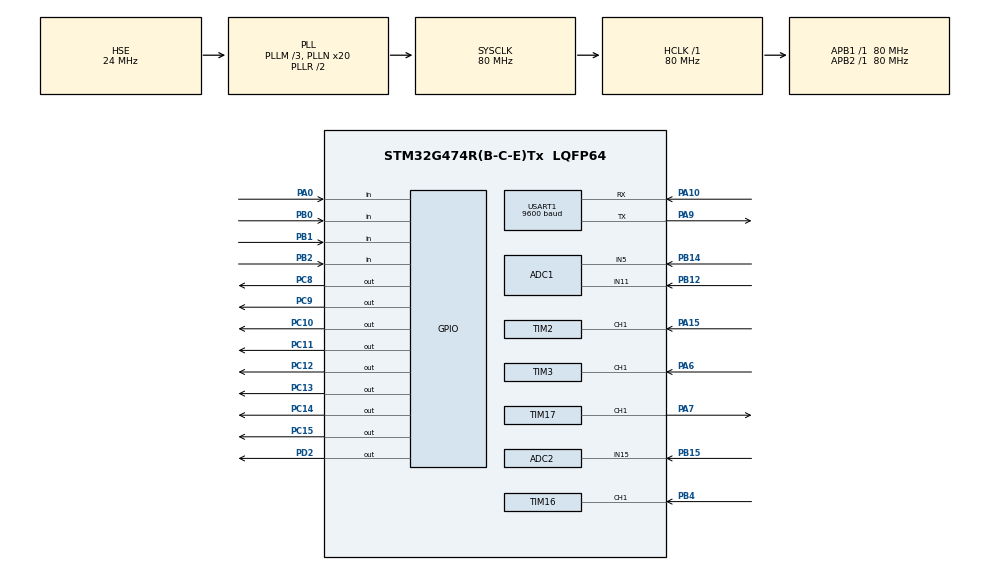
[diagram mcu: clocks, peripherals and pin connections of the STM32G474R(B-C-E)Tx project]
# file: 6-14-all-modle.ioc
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ADC1.Channel-0\#ChannelRegularConversion=ADC_CHANNEL_11
ADC1.Channel-1\#ChannelRegularConversion=ADC_CHANNEL_5
ADC1.ClockPrescaler=ADC_CLOCK_ASYNC_DIV128
ADC1.ContinuousConvMode=ENABLE
ADC1.DMAContinuousRequests=ENABLE
ADC1.NbrOfConversion=2
ADC1.NbrOfConversionFlag=1
ADC1.OffsetNumber-0\#ChannelRegularConversion=ADC_OFFSET_NONE
ADC1.OffsetNumber-1\#ChannelRegularConversion=ADC_OFFSET_NONE
ADC1.Rank-0\#ChannelRegularConversion=1
ADC1.Rank-1\#ChannelRegularConversion=2
ADC1.SamplingTime-0\#ChannelRegularConversion=ADC_SAMPLETIME_640CYCLES_5
ADC1.SamplingTime-1\#ChannelRegularConversion=ADC_SAMPLETIME_640CYCLES_5
ADC1.master=1
ADC2.Channel-0\#ChannelRegularConversion=ADC_CHANNEL_15
ADC2.ClockPrescaler=ADC_CLOCK_ASYNC_DIV128
ADC2.ContinuousConvMode=ENABLE
ADC2.DMAContinuousRequests=ENABLE
ADC2.NbrOfConversionFlag=1
Dma.ADC1.0.Direction=DMA_PERIPH_TO_MEMORY
Dma.ADC1.0.EventEnable=DISABLE
Dma.ADC1.0.Instance=DMA1_Channel1
Dma.ADC1.0.MemDataAlignment=DMA_MDATAALIGN_HALFWORD
Dma.ADC1.0.MemInc=DMA_MINC_ENABLE
Dma.ADC1.0.Mode=DMA_CIRCULAR
Dma.ADC1.0.PeriphDataAlignment=DMA_PDATAALIGN_HALFWORD
Dma.ADC1.0.PeriphInc=DMA_PINC_DISABLE
Dma.ADC1.0.Polarity=HAL_DMAMUX_REQ_GEN_RISING
Dma.ADC1.0.Priority=DMA_PRIORITY_LOW
Dma.ADC1.0.RequestNumber=1
Dma.ADC1.0.SignalID=NONE
Dma.ADC1.0.SyncEnable=DISABLE
Dma.ADC1.0.SyncPolarity=HAL_DMAMUX_SYNC_NO_EVENT
Dma.ADC1.0.SyncRequestNumber=1
Dma.ADC1.0.SyncSignalID=NONE
Dma.ADC2.1.Direction=DMA_PERIPH_TO_MEMORY
Dma.ADC2.1.EventEnable=DISABLE
Dma.ADC2.1.Instance=DMA1_Channel2
Dma.ADC2.1.MemDataAlignment=DMA_MDATAALIGN_HALFWORD
Dma.ADC2.1.MemInc=DMA_MINC_ENABLE
Dma.ADC2.1.Mode=DMA_CIRCULAR
Dma.ADC2.1.PeriphDataAlignment=DMA_PDATAALIGN_HALFWORD
Dma.ADC2.1.PeriphInc=DMA_PINC_DISABLE
Dma.ADC2.1.Polarity=HAL_DMAMUX_REQ_GEN_RISING
Dma.ADC2.1.Priority=DMA_PRIORITY_LOW
Dma.ADC2.1.RequestNumber=1
Dma.ADC2.1.SignalID=NONE
Dma.ADC2.1.SyncEnable=DISABLE
Dma.ADC2.1.SyncPolarity=HAL_DMAMUX_SYNC_NO_EVENT
Dma.ADC2.1.SyncRequestNumber=1
Dma.ADC2.1.SyncSignalID=NONE
Dma.Request0=ADC1
Dma.Request1=ADC2
Mcu.Family=STM32G4
Mcu.Name=STM32G474R(B-C-E)Tx
Mcu.Package=LQFP64
NVIC.DMA1_Channel1_IRQn=true\:0\:0\:false\:false\:true\:false\:true\:true
NVIC.DMA1_Channel2_IRQn=true\:0\:0\:false\:false\:true\:false\:true\:true
NVIC.PriorityGroup=NVIC_PRIORITYGROUP_4
NVIC.RTC_Alarm_IRQn=true\:0\:0\:false\:false\:true\:true\:true\:true
NVIC.TIM1_BRK_TIM15_IRQn=true\:0\:0\:false\:false\:true\:true\:true\:true
NVIC.TIM1_TRG_COM_TIM17_IRQn=true\:0\:0\:false\:false\:true\:true\:true\:true
NVIC.TIM1_UP_TIM16_IRQn=true\:0\:0\:false\:false\:true\:true\:true\:true
NVIC.TIM2_IRQn=true\:0\:0\:false\:false\:true\:true\:true\:true
NVIC.TIM3_IRQn=true\:0\:0\:false\:false\:true\:true\:true\:true
NVIC.TIM7_DAC_IRQn=true\:0\:0\:false\:false\:true\:true\:true\:true
NVIC.USART1_IRQn=true\:0\:0\:false\:false\:true\:true\:true\:true
PA0.GPIO_PuPd=GPIO_PULLUP
PA0.Signal=GPIO_Input
PA10.Mode=Asynchronous
PA10.Signal=USART1_RX
PA13.Mode=Serial_Wire
PA13.Signal=SYS_JTMS-SWDIO
PA14.Mode=Serial_Wire
PA14.Signal=SYS_JTCK-SWCLK
PA15.Signal=S_TIM2_CH1
PA6.Signal=S_TIM3_CH1
PA7.Signal=S_TIM17_CH1
PA9.Mode=Asynchronous
PA9.Signal=USART1_TX
PB0.GPIO_PuPd=GPIO_PULLUP
PB0.Signal=GPIO_Input
PB1.GPIO_PuPd=GPIO_PULLUP
PB1.Signal=GPIO_Input
PB12.Mode=IN11-Single-Ended
PB12.Signal=ADC1_IN11
PB14.Mode=IN5-Single-Ended
PB14.Signal=ADC1_IN5
PB15.Mode=IN15-Single-Ended
PB15.Signal=ADC2_IN15
PB2.GPIO_PuPd=GPIO_PULLUP
PB2.Signal=GPIO_Input
PB4.Signal=S_TIM16_CH1
PC10.PinState=GPIO_PIN_SET
PC10.Signal=GPIO_Output
PC11.PinState=GPIO_PIN_SET
PC11.Signal=GPIO_Output
PC12.PinState=GPIO_PIN_SET
PC12.Signal=GPIO_Output
PC13.PinState=GPIO_PIN_SET
PC13.Signal=GPIO_Output
PC14-OSC32_IN.PinState=GPIO_PIN_SET
PC14-OSC32_IN.Signal=GPIO_Output
PC15-OSC32_OUT.PinState=GPIO_PIN_SET
PC15-OSC32_OUT.Signal=GPIO_Output
PC8.PinState=GPIO_PIN_SET
PC8.Signal=GPIO_Output
PC9.PinState=GPIO_PIN_SET
PC9.Signal=GPIO_Output
PD2.Signal=GPIO_Output
PF0-OSC_IN.Mode=HSE-External-Oscillator
PF0-OSC_IN.Signal=RCC_OSC_IN
PF1-OSC_OUT.Mode=HSE-External-Oscillator
PF1-OSC_OUT.Signal=RCC_OSC_OUT
ProjectManager.HeapSize=0x200
ProjectManager.StackSize=0x400
ProjectManager.TargetToolchain=MDK-ARM V5.32
RCC.ADC12Freq_Value=80000000
RCC.ADC345Freq_Value=80000000
RCC.AHBFreq_Value=80000000
RCC.APB1Freq_Value=80000000
RCC.APB1TimFreq_Value=80000000
RCC.APB2Freq_Value=80000000
RCC.APB2TimFreq_Value=80000000
RCC.CortexFreq_Value=80000000
RCC.EXTERNAL_CLOCK_VALUE=12288000
RCC.HCLKFreq_Value=80000000
RCC.HSE_VALUE=24000000
RCC.HSI48_VALUE=48000000
RCC.HSI_VALUE=16000000
RCC.LSE_VALUE=32768
RCC.PLLM=RCC_PLLM_DIV3
RCC.PLLN=20
RCC.PLLSourceVirtual=RCC_PLLSOURCE_HSE
RCC.SYSCLKFreq_VALUE=80000000
RCC.SYSCLKSource=RCC_SYSCLKSOURCE_PLLCLK
RCC.USBFreq_Value=80000000
RCC.VCOOutputFreq_Value=160000000
RTC.Alarm-Alarm\ A=RTC_ALARM_A
RTC.AlarmMaskDateWeekDay-Alarm\ A=RTC_ALARMMASK_DATEWEEKDAY
RTC.AlarmMaskDateWeekDay_B-Alarm\ B=RTC_ALARMMASK_DATEWEEKDAY
RTC.AlarmMaskHours-Alarm\ A=RTC_ALARMMASK_HOURS
RTC.AlarmMaskHours_B-Alarm\ B=RTC_ALARMMASK_HOURS
RTC.AlarmMaskMinutes-Alarm\ A=RTC_ALARMMASK_MINUTES
RTC.AlarmMaskMinutes_B-Alarm\ B=RTC_ALARMMASK_MINUTES
RTC.AlarmMaskSeconds-Alarm\ A=RTC_ALARMMASK_SECONDS
RTC.Alarm_B-Alarm\ B=RTC_ALARM_B
RTC.Date=6
RTC.Format=RTC_FORMAT_BIN
RTC.Hours=22
RTC.Minutes=3
RTC.Seconds=20
RTC.Seconds_B-Alarm\ B=10
RTC.Year=22
SH.S_TIM16_CH1.0=TIM16_CH1,Input_Capture1_from_TI1
SH.S_TIM17_CH1.0=TIM17_CH1,PWM Generation1 CH1
SH.S_TIM2_CH1.0=TIM2_CH1,Input_Capture1_from_TI1
SH.S_TIM3_CH1.0=TIM3_CH1,Input_Capture1_from_TI1
TIM15.PeriodNoDither=1000-1
TIM15.Prescaler=800-1
TIM16.Channel=TIM_CHANNEL_1
TIM16.Prescaler=80-1
TIM17.Channel=TIM_CHANNEL_1
TIM17.PeriodNoDither=250-1
TIM17.Prescaler=80-1
TIM2.Channel-Input_Capture1_from_TI1=TIM_CHANNEL_1
TIM2.Channel-Input_Capture2_from_TI1_63=TIM_CHANNEL_2
TIM2.ICPolarity_CH1=TIM_INPUTCHANNELPOLARITY_FALLING
TIM2.PeriodNoDither=65535
TIM2.Prescaler=80-1
TIM3.Channel-Input_Capture1_from_TI1=TIM_CHANNEL_1
TIM3.Channel-Input_Capture2_from_TI1_63=TIM_CHANNEL_2
TIM3.ICPolarity_CH1=TIM_INPUTCHANNELPOLARITY_FALLING
TIM3.Prescaler=80-1
TIM7.PeriodNoDither=1000-1
TIM7.Prescaler=80-1
USART1.BaudRate=9600
USART1.VirtualMode-Asynchronous=VM_ASYNC
VP_RTC_VS_RTC_Activate.Mode=RTC_Enabled
VP_RTC_VS_RTC_Alarm_A_Intern.Mode=Alarm A
VP_RTC_VS_RTC_Alarm_B_Intern.Mode=Alarm B
VP_RTC_VS_RTC_Calendar.Mode=RTC_Calendar
VP_SYS_VS_DBSignals.Mode=DisableDeadBatterySignals
VP_TIM15_VS_ClockSourceINT.Mode=Internal
VP_TIM16_VS_ClockSourceINT.Mode=Enable_Timer
VP_TIM17_VS_ClockSourceINT.Mode=Enable_Timer
VP_TIM2_VS_ClockSourceINT.Mode=Internal
VP_TIM2_VS_indirect_ch1.Mode=Input_Capture2_from_TI1_63
VP_TIM3_VS_indirect_ch1.Mode=Input_Capture2_from_TI1_63
VP_TIM7_VS_ClockSourceINT.Mode=Enable_Timer
board=custom

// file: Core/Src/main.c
/* USER CODE BEGIN Header */
/**
  ******************************************************************************
  * @file           : main.c
  * @brief          : Main program body
  ******************************************************************************
  * @attention
  *
  * Copyright (c) 2025 STMicroelectronics.
  * All rights reserved.
  *
  * This software is licensed under terms that can be found in the LICENSE file
  * in the root directory of this software component.
  * If no LICENSE file comes with this software, it is provided AS-IS.
  *
  ******************************************************************************
  */
/* USER CODE END Header */
#include "main.h"
#include "adc.h"
#include "dma.h"
#include "rtc.h"
#include "tim.h"
#include "usart.h"
#include "gpio.h"

/* USER CODE BEGIN Includes */
#include "headfile.h"
/* USER CODE END Includes */

void SystemClock_Config(void);

int main(void)
{

  /* MCU Configuration--------------------------------------------------------*/

  /* Reset of all peripherals, Initializes the Flash interface and the Systick. */
  HAL_Init();

  /* Configure the system clock */
  SystemClock_Config();

  /* Initialize all configured peripherals */
  MX_GPIO_Init();
  MX_DMA_Init();
  MX_TIM7_Init();
  MX_TIM15_Init();
  MX_USART1_UART_Init();
  MX_ADC1_Init();
  MX_ADC2_Init();
  MX_TIM2_Init();
  MX_TIM16_Init();
  MX_TIM3_Init();
  MX_TIM17_Init();
  MX_RTC_Init();
  /* USER CODE BEGIN 2 */
  led_show(1,0);
  led_show(2,0);
  led_show(3,0);
  led_show(4,0);
  led_show(5,0);
  led_show(6,0);
  led_show(7,0);
  led_show(8,0);

  led_show(8,1);

  LCD_Init();
  LCD_SetTextColor(White);
  LCD_SetBackColor(Black);
  LCD_Clear(Black);
  //adc-calibrate
  HAL_ADCEx_Calibration_Start(&hadc1, ADC_SINGLE_ENDED);
  HAL_ADCEx_Calibration_Start(&hadc2, ADC_SINGLE_ENDED);
  //adc_dma
  HAL_ADC_Start_DMA(&hadc1, (uint32_t *)&adc1_buff, 4);
  HAL_ADC_Start_DMA(&hadc2, (uint32_t *)&adc2_buff, 2);
  //pwm_capture-ne555
  HAL_TIM_IC_Start_IT(&htim2, TIM_CHANNEL_1);
  HAL_TIM_IC_Start_IT(&htim2, TIM_CHANNEL_2);
  HAL_TIM_IC_Start_IT(&htim16, TIM_CHANNEL_1);
  //pwm_capture-io-pwm
  HAL_TIM_IC_Start_IT(&htim3, TIM_CHANNEL_1);
  HAL_TIM_IC_Start_IT(&htim3, TIM_CHANNEL_2);
  //pwm-out
  HAL_TIM_PWM_Start_IT(&htim17, TIM_CHANNEL_1);
  __HAL_TIM_SetAutoreload(&htim17,500-1);
  __HAL_TIM_SetCompare(&htim17, TIM_CHANNEL_1,500*0.6f);
  __HAL_TIM_SetCounter(&htim17,0);
  //uart
  HAL_UART_Receive_IT(&huart1, &rx_data, 1);
  //i2c
  I2CInit();
  eep_init();
  //timer
  HAL_TIM_Base_Start_IT(&htim7);

  /* USER CODE END 2 */

  /* Infinite loop */
  /* USER CODE BEGIN WHILE */
  while (1)
  {
    while_fun();
    /* USER CODE END WHILE */

  }
}

void SystemClock_Config(void)
{
  RCC_OscInitTypeDef RCC_OscInitStruct = {0};
  RCC_ClkInitTypeDef RCC_ClkInitStruct = {0};

  /** Configure the main internal regulator output voltage
  */
  HAL_PWREx_ControlVoltageScaling(PWR_REGULATOR_VOLTAGE_SCALE1);

  /** Initializes the RCC Oscillators according to the specified parameters
  * in the RCC_OscInitTypeDef structure.
  */
  RCC_OscInitStruct.OscillatorType = RCC_OSCILLATORTYPE_LSI|RCC_OSCILLATORTYPE_HSE;
  RCC_OscInitStruct.HSEState = RCC_HSE_ON;
  RCC_OscInitStruct.LSIState = RCC_LSI_ON;
  RCC_OscInitStruct.PLL.PLLState = RCC_PLL_ON;
  RCC_OscInitStruct.PLL.PLLSource = RCC_PLLSOURCE_HSE;
  RCC_OscInitStruct.PLL.PLLM = RCC_PLLM_DIV3;
  RCC_OscInitStruct.PLL.PLLN = 20;
  RCC_OscInitStruct.PLL.PLLP = RCC_PLLP_DIV2;
  RCC_OscInitStruct.PLL.PLLQ = RCC_PLLQ_DIV2;
  RCC_OscInitStruct.PLL.PLLR = RCC_PLLR_DIV2;
  if (HAL_RCC_OscConfig(&RCC_OscInitStruct) != HAL_OK)
  {
    Error_Handler();
  }

  /** Initializes the CPU, AHB and APB buses clocks
  */
  RCC_ClkInitStruct.ClockType = RCC_CLOCKTYPE_HCLK|RCC_CLOCKTYPE_SYSCLK
                              |RCC_CLOCKTYPE_PCLK1|RCC_CLOCKTYPE_PCLK2;
  RCC_ClkInitStruct.SYSCLKSource = RCC_SYSCLKSOURCE_PLLCLK;
  RCC_ClkInitStruct.AHBCLKDivider = RCC_SYSCLK_DIV1;
  RCC_ClkInitStruct.APB1CLKDivider = RCC_HCLK_DIV1;
  RCC_ClkInitStruct.APB2CLKDivider = RCC_HCLK_DIV1;

  if (HAL_RCC_ClockConfig(&RCC_ClkInitStruct, FLASH_LATENCY_2) != HAL_OK)
  {
    Error_Handler();
  }
}

void Error_Handler(void)
{
  __disable_irq();
  while (1)
  {
  }
}
